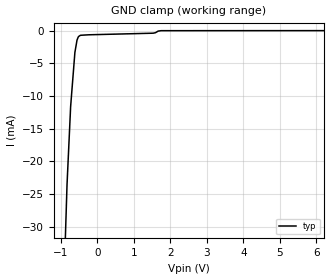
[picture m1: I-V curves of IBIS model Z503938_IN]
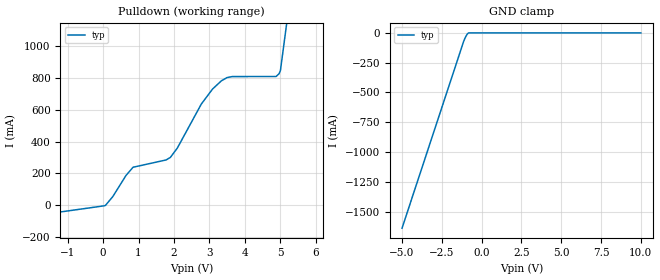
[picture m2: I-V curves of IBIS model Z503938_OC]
| YOU ARE ONLY AUTHORIZED TO USE THIS SOFTWARE
| ACCORDING TO LICENSOR'S LICENSE RESTRICTIONS.
[IBIS Ver] 3.1
[File Name] mc54f38j.ibs
[File Rev] 2.0
[Source] Measured and created by ICX Technology
[Date] Friday 7/14/00 9:08:03 AM
[Copyright]
| (C) COPYRIGHT 1993-2000
| MENTOR GRAPHICS CORPORATION
| ICX STANDARD LIBRARY, ICX PROJECT MODELING,
| ICX CUSTOM MODELING, ICX VENDOR MODEL
| ALL RIGHTS RESERVED.
| THE FOLLOWING ARE TRADEMARKS OR SERVICE MARKS OF
| MENTOR GRAPHICS CORPORATION:ICX (R), ICX STANDARD
| LIBRARY(R), ICX PROJECT MODELING(R), ICX CUSTOM
| MODELING(R), qualityIBIS(TM), MODELVIEWER(TM),
| AND MODELEDITOR(TM)
| ALL COPIES OF SOFTWARE, INCLUDING BUT NOT LIMITED TO
| ANY MODIFICATIONS, ENHANCEMENTS OR DERIVATIVE WORKS,
| MUST CONTAIN ALL MENTOR GRAPHICS CORPORATION'S
| NOTICES AND LEGENDS, INCLUDING THOSE EMBEDDED IN
| SOFTWARE AND THOSE AFFIXED TO SOFTWARE MEDIUM
| AND CONTAINER, AS RECEIVED FROM MENTOR GRAPHICS
| CORPORATION.
|  ZAP Model Builder 2.7
[Component] MC54F38J
[Manufacturer] OnSemiconductor
[Package]
| variable   typ   min   max
R_pkg  .21ohms NA NA
L_pkg  4.543nH NA NA
C_pkg  1.8pF NA NA
[Pin] signal_name  model_name  R_pin  L_pin C_pin
1 A Z503938_IN .22 6.757n 2.434p
2 B Z503938_IN .212 4.757n 1.941p
3 Y Z503938_OC .204 3.257n 1.448p
4 A Z503938_IN .196 2.257n .955p
5 B Z503938_IN .204 3.257n 1.448p
6 Y Z503938_OC .212 4.757n 1.941p
7 GND GND .22 6.757n 2.434p
8 Y Z503938_OC .22 6.757n 2.434p
9 A Z503938_IN .212 4.757n 1.941p
10 B Z503938_IN .204 3.257n 1.448p
11 Y Z503938_OC .196 2.257n .955p
12 A Z503938_IN .204 3.257n 1.448p
13 B Z503938_IN .212 4.757n 1.941p
14 VCC POWER .22 6.757n 2.434p
| Models and submodels in the file (2): Z503938_IN (Input), Z503938_OC (Open_sink)
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| (C) COPYRIGHT 1993-2000
| MENTOR GRAPHICS CORPORATION
| ICX STANDARD LIBRARY, ICX PROJECT MODELING,
| ICX CUSTOM MODELING, ICX VENDOR MODEL
| ALL RIGHTS RESERVED.
| THE FOLLOWING ARE TRADEMARKS OR SERVICE MARKS OF
| MENTOR GRAPHICS CORPORATION:ICX (R), ICX STANDARD
| LIBRARY(R), ICX PROJECT MODELING(R), ICX CUSTOM
| MODELING(R), qualityIBIS(TM), MODELVIEWER(TM),
| AND MODELEDITOR(TM)
| ALL COPIES OF SOFTWARE, INCLUDING BUT NOT LIMITED TO
| ANY MODIFICATIONS, ENHANCEMENTS OR DERIVATIVE WORKS,
| MUST CONTAIN ALL MENTOR GRAPHICS CORPORATION'S
| NOTICES AND LEGENDS, INCLUDING THOSE EMBEDDED IN
| SOFTWARE AND THOSE AFFIXED TO SOFTWARE MEDIUM
| AND CONTAINER, AS RECEIVED FROM MENTOR GRAPHICS
| CORPORATION.
| Model Application Version 1.89 2/18/99.
[Model] Z503938_IN
Model_type Input
Vinl = 800.0mV
Vinh = 2.000V
C_comp 4.000pF NA NA
| variable typ   min   max
[Voltage Range] 5.000V NA NA
[GND Clamp Reference] 0.000V NA NA
[POWER Clamp Reference] 5.000V NA NA
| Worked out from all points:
|   GND clamp passes 1 mA (typ) near -0.53 V on its own axis
[GND Clamp]
-5V       -763.7mA   NA         NA
-829.9mV  -23.51mA   NA         NA
-731.5mV  -11.6mA    NA         NA
-614.9mV  -3.334mA   NA         NA
-556.6mV  -1.44mA    NA         NA
-522mV    -957.9uA   NA         NA
-459mV    -706.6uA   NA         NA
1.528V    -388.5uA   NA         NA
1.743V    -5.261uA   NA         NA
10V       11.44uA    NA         NA
[POWER Clamp]
-5V       0A         NA         NA
10V       0A         NA         NA
| (C) COPYRIGHT 1993-2000
| MENTOR GRAPHICS CORPORATION
| ICX STANDARD LIBRARY, ICX PROJECT MODELING,
| ICX CUSTOM MODELING, ICX VENDOR MODEL
| ALL RIGHTS RESERVED.
| THE FOLLOWING ARE TRADEMARKS OR SERVICE MARKS OF
| MENTOR GRAPHICS CORPORATION:ICX (R), ICX STANDARD
| LIBRARY(R), ICX PROJECT MODELING(R), ICX CUSTOM
| MODELING(R), qualityIBIS(TM), MODELVIEWER(TM),
| AND MODELEDITOR(TM)
| ALL COPIES OF SOFTWARE, INCLUDING BUT NOT LIMITED TO
| ANY MODIFICATIONS, ENHANCEMENTS OR DERIVATIVE WORKS,
| MUST CONTAIN ALL MENTOR GRAPHICS CORPORATION'S
| NOTICES AND LEGENDS, INCLUDING THOSE EMBEDDED IN
| SOFTWARE AND THOSE AFFIXED TO SOFTWARE MEDIUM
| AND CONTAINER, AS RECEIVED FROM MENTOR GRAPHICS
| CORPORATION.
| Model Application Version 1.89 2/18/99.
[Model] Z503938_OC
Model_type Open_sink
Vref=3.500V
Rref=250.0ohms
Cref=50.00pF
Vmeas=1.500V
C_comp 8.000pF NA NA
| variable typ   min   max
[Voltage Range] 5.000V NA NA
[POWER Clamp Reference] 5.000V NA NA
[Pullup Reference] 5.000V NA NA
[Pulldown Reference] 0.000V NA NA
[GND Clamp Reference] 0.000V NA NA
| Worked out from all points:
|   slope of the pulldown table from 0 to 0.75 V, typ, clamps not added: 3.44 ohm
|   GND clamp passes 1 mA (typ) near -0.83 V on its own axis
[GND Clamp]
-5V       -1.639A    NA         NA
-1.127V   -70.54mA   NA         NA
-1.025V   -38.16mA   NA         NA
-902.6mV  -9.858mA   NA         NA
-820.5mV  0A         NA         NA
10V       0A         NA         NA
[Pulldown]
-5V       -161.4mA   NA         NA
68.55mV   -928.1uA   NA         NA
644.5mV   186mA      NA         NA
846.3mV   238.5mA    NA         NA
1.899V    300.3mA    NA         NA
2.095V    359.4mA    NA         NA
2.77V     635.2mA    NA         NA
3.086V    729.5mA    NA         NA
3.491V    801.2mA    NA         NA
4.878V    808.4mA    NA         NA
4.999V    845.7mA    NA         NA
10V       9.218A     NA         NA
[POWER Clamp]
-5V       0A         NA         NA
10V       0A         NA         NA
[Ramp]
| variable typ min max
dV/dt_r 2.913/4.137n NA NA
dV/dt_f 2.913/487.6p NA NA
R_load = 250.0Ohms
